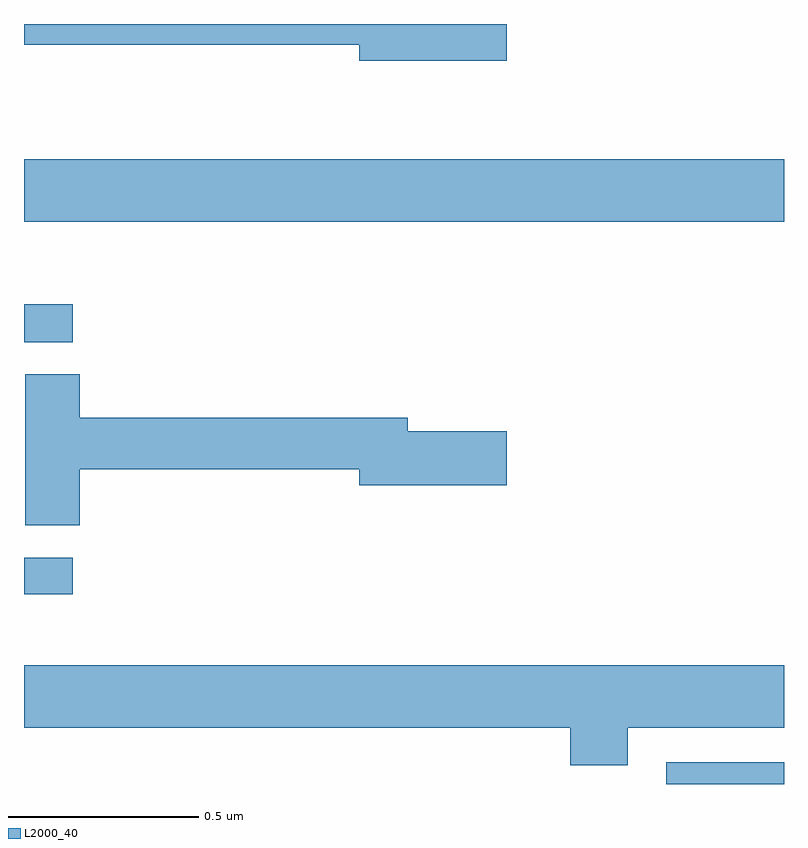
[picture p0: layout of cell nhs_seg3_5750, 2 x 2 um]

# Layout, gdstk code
import gdstk
lib = gdstk.Library(unit=1e-6, precision=1e-09)
def R(c, l, rs):  # rectangles x0, y0, x1, y1
    for r in rs: c.add(gdstk.rectangle(r[:2], r[2:], *l))
def P(c, l, *ps):  # polygons
    for p in ps: c.add(gdstk.Polygon(p, *l))
L2000_40 = (2000, 40)

nhs_seg3_5750 = lib.new_cell('nhs_seg3_5750')
R(nhs_seg3_5750, L2000_40, [(183.69,735.4,184,735.457), (182,735.9,182.128,735.996), (182,736.563,182.128,736.662), (182,736.88,184,737.044)])
P(nhs_seg3_5750, L2000_40, [(183.271,737.4),(182,737.4),(182,737.346),(182.882,737.346),(182.882,737.303),(183.271,737.303)],
  [(182.147,736.228),(182.882,736.228),(182.882,736.186),(183.271,736.186),(183.271,736.328),(183.01,736.328),(183.01,736.364),(182.147,736.364),(182.147,736.478),(182.003,736.478),(182.003,736.081),(182.147,736.081)],
  [(183.589,735.548),(184,735.548),(184,735.712),(182,735.712),(182,735.548),(183.437,735.548),(183.437,735.449),(183.589,735.449)])

lib.write_gds('nhs_seg3_5750.gds')
